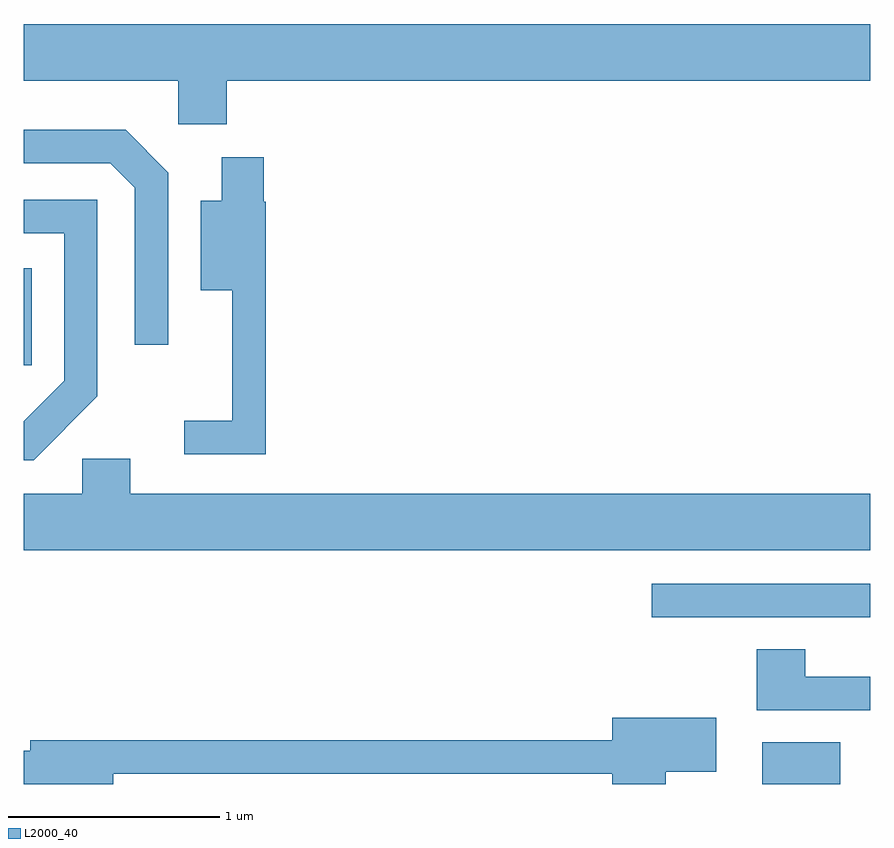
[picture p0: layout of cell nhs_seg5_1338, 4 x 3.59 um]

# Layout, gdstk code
import gdstk
lib = gdstk.Library(unit=1e-6, precision=1e-09)
def R(c, l, rs):  # rectangles x0, y0, x1, y1
    for r in rs: c.add(gdstk.rectangle(r[:2], r[2:], *l))
def P(c, l, *ps):  # polygons
    for p in ps: c.add(gdstk.Polygon(p, *l))
L2000_40 = (2000, 40)

nhs_seg5_1338 = lib.new_cell('nhs_seg5_1338')
R(nhs_seg5_1338, L2000_40, [(227.101,1520.072,227.469,1520.269), (226.578,1520.861,227.611,1521.019), (223.611,1522.051,223.649,1522.509)])
P(nhs_seg5_1338, L2000_40, [(224.569,1523.396),(227.611,1523.396),(227.611,1523.664),(223.611,1523.664),(223.611,1523.396),(224.341,1523.396),(224.341,1523.191),(224.569,1523.191)],
  [(224.294,1522.962),(224.092,1523.164),(223.611,1523.164),(223.611,1523.006),(224.019,1523.006),(224.136,1522.889),(224.136,1522.148),(224.294,1522.148)],
  [(224.754,1522.825),(224.744,1522.825),(224.744,1523.034),(224.546,1523.034),(224.546,1522.829),(224.446,1522.829),(224.446,1522.406),(224.596,1522.406),(224.596,1521.789),(224.368,1521.789),(224.368,1521.631),(224.754,1521.631)],
  [(223.959,1521.904),(223.959,1522.834),(223.611,1522.834),(223.611,1522.676),(223.801,1522.676),(223.801,1521.977),(223.611,1521.786),(223.611,1521.601),(223.657,1521.601)],
  [(227.611,1521.444),(224.114,1521.444),(224.114,1521.609),(223.886,1521.609),(223.886,1521.444),(223.611,1521.444),(223.611,1521.176),(227.611,1521.176)],
  [(227.611,1520.579),(227.304,1520.579),(227.304,1520.709),(227.076,1520.709),(227.076,1520.421),(227.611,1520.421)],
  [(224.034,1520.121),(226.391,1520.121),(226.391,1520.072),(226.644,1520.072),(226.644,1520.131),(226.884,1520.131),(226.884,1520.384),(226.391,1520.384),(226.391,1520.279),(223.641,1520.279),(223.641,1520.229),(223.611,1520.229),(223.611,1520.072),(224.034,1520.072)])

lib.write_gds('nhs_seg5_1338.gds')
